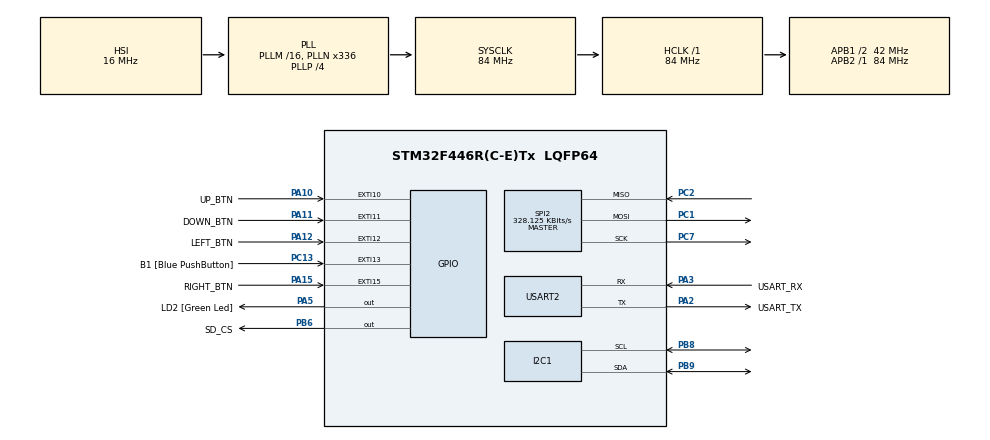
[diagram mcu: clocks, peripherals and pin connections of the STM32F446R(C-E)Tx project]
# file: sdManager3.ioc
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FATFS._MAX_SS=512
FATFS._USE_LFN=0
Mcu.Family=STM32F4
Mcu.Name=STM32F446R(C-E)Tx
Mcu.Package=LQFP64
NVIC.EXTI15_10_IRQn=true\:0\:0\:false\:false\:true\:true\:true\:true
NVIC.PriorityGroup=NVIC_PRIORITYGROUP_0
PA10.GPIO_Label=UP_BTN
PA10.GPIO_ModeDefaultEXTI=GPIO_MODE_IT_FALLING
PA10.Signal=GPXTI10
PA11.GPIO_Label=DOWN_BTN
PA11.GPIO_ModeDefaultEXTI=GPIO_MODE_IT_FALLING
PA11.Signal=GPXTI11
PA12.GPIO_Label=LEFT_BTN
PA12.GPIO_ModeDefaultEXTI=GPIO_MODE_IT_FALLING
PA12.Signal=GPXTI12
PA13.GPIO_Label=TMS
PA13.Mode=Serial_Wire
PA13.Signal=SYS_JTMS-SWDIO
PA14.GPIO_Label=TCK
PA14.Mode=Serial_Wire
PA14.Signal=SYS_JTCK-SWCLK
PA15.GPIO_Label=RIGHT_BTN
PA15.GPIO_ModeDefaultEXTI=GPIO_MODE_IT_FALLING
PA15.Signal=GPXTI15
PA2.GPIO_Label=USART_TX
PA2.Mode=Asynchronous
PA2.Signal=USART2_TX
PA3.GPIO_Label=USART_RX
PA3.Mode=Asynchronous
PA3.Signal=USART2_RX
PA5.GPIO_Label=LD2 [Green Led]
PA5.Signal=GPIO_Output
PB3.GPIO_Label=SWO
PB3.Signal=SYS_JTDO-SWO
PB6.GPIO_Label=SD_CS
PB6.Signal=GPIO_Output
PB8.Mode=I2C
PB8.Signal=I2C1_SCL
PB9.Mode=I2C
PB9.Signal=I2C1_SDA
PC1.Mode=Full_Duplex_Master
PC1.Signal=SPI2_MOSI
PC13.GPIO_Label=B1 [Blue PushButton]
PC13.GPIO_ModeDefaultEXTI=GPIO_MODE_IT_FALLING
PC13.Signal=GPXTI13
PC14-OSC32_IN.Mode=LSE-External-Oscillator
PC14-OSC32_IN.Signal=RCC_OSC32_IN
PC15-OSC32_OUT.Mode=LSE-External-Oscillator
PC15-OSC32_OUT.Signal=RCC_OSC32_OUT
PC2.Mode=Full_Duplex_Master
PC2.Signal=SPI2_MISO
PC7.Mode=Full_Duplex_Master
PC7.Signal=SPI2_SCK
PH0-OSC_IN.Mode=HSE-External-Oscillator
PH0-OSC_IN.Signal=RCC_OSC_IN
PH1-OSC_OUT.Mode=HSE-External-Oscillator
PH1-OSC_OUT.Signal=RCC_OSC_OUT
ProjectManager.HeapSize=0x200
ProjectManager.StackSize=0x400
ProjectManager.TargetToolchain=CMake
RCC.48MHZClocksFreq_Value=84000000
RCC.AHBFreq_Value=84000000
RCC.APB1CLKDivider=RCC_HCLK_DIV2
RCC.APB1Freq_Value=42000000
RCC.APB1TimFreq_Value=84000000
RCC.APB2Freq_Value=84000000
RCC.APB2TimFreq_Value=84000000
RCC.CortexFreq_Value=84000000
RCC.FLatency-AdvancedSettings=FLASH_LATENCY_2
RCC.HCLKFreq_Value=84000000
RCC.HSE_VALUE=8000000
RCC.HSI_VALUE=16000000
RCC.PLLN=336
RCC.PLLP=RCC_PLLP_DIV4
RCC.SYSCLKFreq_VALUE=84000000
RCC.SYSCLKSource=RCC_SYSCLKSOURCE_PLLCLK
RCC.USBFreq_Value=168000000
RCC.VCOOutputFreq_Value=336000000
SPI2.BaudRatePrescaler=SPI_BAUDRATEPRESCALER_128
SPI2.CalculateBaudRate=328.125 KBits/s
SPI2.Direction=SPI_DIRECTION_2LINES
SPI2.Mode=SPI_MODE_MASTER
SPI2.VirtualType=VM_MASTER
USART2.VirtualMode=VM_ASYNC
VP_FATFS_VS_Generic.Mode=User_defined
board=NUCLEO-F446RE

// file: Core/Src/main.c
/* USER CODE BEGIN Header */
/**
  ******************************************************************************
  * @file           : main.c
  * @brief          : Main program body
  ******************************************************************************
  * @attention
  *
  * Copyright (c) 2024 STMicroelectronics.
  * All rights reserved.
  *
  * This software is licensed under terms that can be found in the LICENSE file
  * in the root directory of this software component.
  * If no LICENSE file comes with this software, it is provided AS-IS.
  *
  ******************************************************************************
  */
/* USER CODE END Header */
#include "main.h"
#include "fatfs.h"

/* USER CODE BEGIN Includes */
#include "Serial.h"
#include "OLED.h"
/* USER CODE END Includes */

I2C_HandleTypeDef hi2c1;

SPI_HandleTypeDef hspi2;

UART_HandleTypeDef huart2;

/* USER CODE BEGIN PV */
struct oled_sd_list ls_oled[10];
int sd_dir_deep = -1;
bool allowButton = false;
/* USER CODE END PV */

void SystemClock_Config(void);
static void MX_GPIO_Init(void);
static void MX_I2C1_Init(void);
static void MX_SPI2_Init(void);
static void MX_USART2_UART_Init(void);
/* USER CODE BEGIN PFP */
void nuevoDirectorioSD(const TCHAR *path);
int getListOfSDfiles(FILINFO *fno_f , const TCHAR *path );
int sdcard_getDirectoryItems(FILINFO *fno_file, const TCHAR *path);
void selectionOfItem(  struct oled_sd_list *ls );
void returnToPreviousPage( struct oled_sd_list *ls );
void riseDirectorySD();
/* USER CODE END PFP */

/* USER CODE BEGIN 0 */

int sdcard_getDirectoryItems(FILINFO *fno_file, const TCHAR *path)
{
  FRESULT res;
  DIR dir;
  FILINFO fno;

  uint8_t count_filesfolders = 0;
  int err;
  res = f_opendir(&dir, path); /* Open the directory */
  if (res == FR_OK)
  {
    for (;;)
    {
      strcpy( fno.fname  , "\0\0\0\0\0\0\0\0\0\0\0\0"   );
      res = f_readdir(&dir, &fno ); /* Read a directory item */
      if (res != FR_OK || fno.fname[0] == 0)
      {
        err = 2;
        break;
      }
      fno_file[count_filesfolders].fattrib = fno.fattrib;
      fno_file[count_filesfolders].fdate = fno.fdate;
      strcpy( fno_file[count_filesfolders].fname, "\0\0\0\0\0\0\0\0\0\0\0\0"  );
      strcpy( fno_file[count_filesfolders].fname,fno.fname  );
      //fno_file[count_filesfolders].fname = fno.fname;
      fno_file[count_filesfolders].fsize = fno.fsize;
      fno_file[count_filesfolders].ftime = fno.ftime;
      count_filesfolders += 1;
    }
    f_closedir(&dir);
  }
  else
  {
    err = 1;
  }

  return err;
}

int getListOfSDfiles(FILINFO *fno_f , const TCHAR *path )
{
  int countFiles = 0;
  for ( int i = 0; i < 15; i++ )
  {
    strcpy( fno_f[i].fname , "\0\0\0\0\0\0\0\0\0\0\0" );
  }
  int hh = strlen(path);
  char cgg[hh+2];
  sprintf(cgg, "%s", path);
  serialPrint( &huart2, "folder:/%s", cgg);

  int err = sdcard_getDirectoryItems( fno_f, cgg);
  if( err == 0 || err == 2)
  {
    for ( int i = 0; i < 15; i++ )
    {
      FILINFO fno = fno_f[i];
      if ( fno.fattrib ==  AM_DIR ||  fno.fattrib ==  AM_ARC  )
      {
        if ( fno.fname[0] == 0 ){
          break;
        }
        if (fno.fattrib & AM_DIR) {
        	serialPrint( &huart2 ,"   <DIR>   %s\n", fno.fname);
        } else {
        	serialPrint( &huart2 ,"%10u %s\n", fno.fsize, fno.fname);
        }
        countFiles++;
      }

    }

  }
  else{
    serialPrint( &huart2, "error ocurred reading items on sd card (err:%hu )", err );
  }
  return countFiles;
}

void nuevoDirectorioSD(const TCHAR *path)
{
  char new_path[30];
  strcpy( new_path , "\0\0\0\0\0\0\0\0\0\0\0\0\0\0\0\0\0\0\0\0\0\0\0\0\0\0\0\0" );
  if ( sd_dir_deep > 0 )
  {
    strcpy( new_path , ls_oled[sd_dir_deep].dir  );
    strcat(new_path, "/" );
  }

  strcat(new_path, path );

  FILINFO fno_f[15];
  uint8_t countFiles = 0;
  countFiles = getListOfSDfiles(  fno_f , new_path  );

  sd_dir_deep += 1;
  oledManagerSDScreen_resetList( &ls_oled[sd_dir_deep] , new_path, countFiles, fno_f);
  oledManagerSDScreen( &ls_oled[sd_dir_deep] );
}

void selectionOfItem(  struct oled_sd_list *ls )
{
  if ( ls->filsf[  ls->actual_item ].fattrib == AM_DIR )
  {
    char path[13];
    strcpy( path, ls->filsf[  ls->actual_item  ].fname );
    serialPrint(  &huart2,"Folder:/%s\r\n" , path  );
    char ar[13];
    strcpy(ar, ls->filsf[  ls->actual_item ].fname);
    nuevoDirectorioSD( ar );
  }
  else if ( ls->filsf[  ls->actual_item ].fattrib == AM_ARC)
  {
    oledInfoFileScreen( ls);
  }
}

void riseDirectorySD()
{
  for (int j = 0; j < 50; j++  )
  {
    ls_oled[sd_dir_deep].dir[j] = 0;
  }
  ls_oled[sd_dir_deep].actual_item = 0;
  strcpy(ls_oled[sd_dir_deep].dir ,  "");
  ls_oled[sd_dir_deep].limitUp = 3;
  ls_oled[sd_dir_deep].limitDown = 0;
  uint8_t nosdfile = 0;
  for ( int i = 0; i < ls_oled[sd_dir_deep].totalFiles; i++ )
  {
    ls_oled[sd_dir_deep].filsf[i - nosdfile ].fattrib = 0;
    ls_oled[sd_dir_deep].filsf[i - nosdfile ].fdate = 0;
    strcpy( ls_oled[sd_dir_deep].filsf[i - nosdfile ].fname, "" );
    ls_oled[sd_dir_deep].filsf[i - nosdfile ].fsize = 0;
    ls_oled[sd_dir_deep].filsf[i - nosdfile ].ftime = 0;
  }
  ls_oled[sd_dir_deep].totalFiles = 0;

  sd_dir_deep -= 1;

  oledManagerSDScreen( &ls_oled[sd_dir_deep] );

}

void returnToPreviousPage( struct oled_sd_list *ls )
{
  if ( ls->filsf[  ls->actual_item ].fattrib == AM_ARC && ls->modeScr == MODE_FILE )
  {
    oledManagerSDScreen( ls );
  }
  else if ( ls->modeScr == MODE_DIR && sd_dir_deep > 0 )
  {
    riseDirectorySD( );
  }
}

/* USER CODE END 0 */

int main(void)
{

  /* MCU Configuration--------------------------------------------------------*/

  /* Reset of all peripherals, Initializes the Flash interface and the Systick. */
  HAL_Init();

  /* Configure the system clock */
  SystemClock_Config();

  /* Initialize all configured peripherals */
  MX_GPIO_Init();
  MX_I2C1_Init();
  MX_SPI2_Init();
  MX_USART2_UART_Init();
  MX_FATFS_Init();
  /* USER CODE BEGIN 2 */

  oledInit();
  HAL_Delay(250);
  oledIntroScreen();
  HAL_Delay(2000);

  FATFS FatFs;

  //some variables for FatFs
  FRESULT fres; //Result after operations
  //Open the file system
  fres = f_mount(&FatFs, "", 1); //1=mount now

  if (  fres != FR_OK )
  {
    oledErrorSDScreen();
    while ( fres != FR_OK  ){
      fres = f_mount(&FatFs, "", 1); //1=mount now
    }
    oledIntroScreen();
    HAL_Delay(1000);
  }

  char ar[2] = {""};
  nuevoDirectorioSD(ar);
  allowButton = true;
  /* USER CODE END 2 */

  /* Infinite loop */
  while (1)
  {
    fres = f_mount(&FatFs, "", 1);
    if (  fres != FR_OK  )
    {
      //__disable_irq();
      allowButton = false;
      oledErrorSDScreen();

      while ( fres != FR_OK ){
        HAL_Delay(500);
        fres = f_mount(&FatFs, "", 1);
      }
      for ( int j = sd_dir_deep; j >= 0 ; j-- )
      {
        ls_oled[j].actual_item = 0;
        ls_oled[j].limitDown = 0;
        ls_oled[j].limitUp = 3;
        ls_oled[j].modeScr = 0;
        ls_oled[j].totalFiles = 0;
        for ( int i = 1; i < 15; i++ )
        {
          ls_oled[j].filsf[i ].fattrib = 0;
          ls_oled[j].filsf[i ].fdate =0;
          strcpy( ls_oled[j].filsf[i ].fname, "" );
          //fno_file[count_filesfolders].fname = fno.fname;
          ls_oled[j].filsf[i ].fsize = 0;
          ls_oled[j].filsf[i ].ftime =0;
        }
      }
      sd_dir_deep = -1;
      char ar[2] = {""};
      nuevoDirectorioSD(ar);
      allowButton = true;
      //__enable_irq();
    }
    HAL_Delay(50);
  }
  /* USER CODE END 3 */
}

void SystemClock_Config(void)
{
  RCC_OscInitTypeDef RCC_OscInitStruct = {0};
  RCC_ClkInitTypeDef RCC_ClkInitStruct = {0};

  /** Configure the main internal regulator output voltage
  */
  __HAL_RCC_PWR_CLK_ENABLE();
  __HAL_PWR_VOLTAGESCALING_CONFIG(PWR_REGULATOR_VOLTAGE_SCALE3);

  /** Initializes the RCC Oscillators according to the specified parameters
  * in the RCC_OscInitTypeDef structure.
  */
  RCC_OscInitStruct.OscillatorType = RCC_OSCILLATORTYPE_HSI;
  RCC_OscInitStruct.HSIState = RCC_HSI_ON;
  RCC_OscInitStruct.HSICalibrationValue = RCC_HSICALIBRATION_DEFAULT;
  RCC_OscInitStruct.PLL.PLLState = RCC_PLL_ON;
  RCC_OscInitStruct.PLL.PLLSource = RCC_PLLSOURCE_HSI;
  RCC_OscInitStruct.PLL.PLLM = 16;
  RCC_OscInitStruct.PLL.PLLN = 336;
  RCC_OscInitStruct.PLL.PLLP = RCC_PLLP_DIV4;
  RCC_OscInitStruct.PLL.PLLQ = 2;
  RCC_OscInitStruct.PLL.PLLR = 2;
  if (HAL_RCC_OscConfig(&RCC_OscInitStruct) != HAL_OK)
  {
    Error_Handler();
  }

  /** Initializes the CPU, AHB and APB buses clocks
  */
  RCC_ClkInitStruct.ClockType = RCC_CLOCKTYPE_HCLK|RCC_CLOCKTYPE_SYSCLK
                              |RCC_CLOCKTYPE_PCLK1|RCC_CLOCKTYPE_PCLK2;
  RCC_ClkInitStruct.SYSCLKSource = RCC_SYSCLKSOURCE_PLLCLK;
  RCC_ClkInitStruct.AHBCLKDivider = RCC_SYSCLK_DIV1;
  RCC_ClkInitStruct.APB1CLKDivider = RCC_HCLK_DIV2;
  RCC_ClkInitStruct.APB2CLKDivider = RCC_HCLK_DIV1;

  if (HAL_RCC_ClockConfig(&RCC_ClkInitStruct, FLASH_LATENCY_2) != HAL_OK)
  {
    Error_Handler();
  }
}

static void MX_I2C1_Init(void)
{

  hi2c1.Instance = I2C1;
  hi2c1.Init.ClockSpeed = 100000;
  hi2c1.Init.DutyCycle = I2C_DUTYCYCLE_2;
  hi2c1.Init.OwnAddress1 = 0;
  hi2c1.Init.AddressingMode = I2C_ADDRESSINGMODE_7BIT;
  hi2c1.Init.DualAddressMode = I2C_DUALADDRESS_DISABLE;
  hi2c1.Init.OwnAddress2 = 0;
  hi2c1.Init.GeneralCallMode = I2C_GENERALCALL_DISABLE;
  hi2c1.Init.NoStretchMode = I2C_NOSTRETCH_DISABLE;
  if (HAL_I2C_Init(&hi2c1) != HAL_OK)
  {
    Error_Handler();
  }

}

static void MX_SPI2_Init(void)
{

  /* SPI2 parameter configuration*/
  hspi2.Instance = SPI2;
  hspi2.Init.Mode = SPI_MODE_MASTER;
  hspi2.Init.Direction = SPI_DIRECTION_2LINES;
  hspi2.Init.DataSize = SPI_DATASIZE_8BIT;
  hspi2.Init.CLKPolarity = SPI_POLARITY_LOW;
  hspi2.Init.CLKPhase = SPI_PHASE_1EDGE;
  hspi2.Init.NSS = SPI_NSS_SOFT;
  hspi2.Init.BaudRatePrescaler = SPI_BAUDRATEPRESCALER_128;
  hspi2.Init.FirstBit = SPI_FIRSTBIT_MSB;
  hspi2.Init.TIMode = SPI_TIMODE_DISABLE;
  hspi2.Init.CRCCalculation = SPI_CRCCALCULATION_DISABLE;
  hspi2.Init.CRCPolynomial = 10;
  if (HAL_SPI_Init(&hspi2) != HAL_OK)
  {
    Error_Handler();
  }

}

static void MX_USART2_UART_Init(void)
{

  huart2.Instance = USART2;
  huart2.Init.BaudRate = 115200;
  huart2.Init.WordLength = UART_WORDLENGTH_8B;
  huart2.Init.StopBits = UART_STOPBITS_1;
  huart2.Init.Parity = UART_PARITY_NONE;
  huart2.Init.Mode = UART_MODE_TX_RX;
  huart2.Init.HwFlowCtl = UART_HWCONTROL_NONE;
  huart2.Init.OverSampling = UART_OVERSAMPLING_16;
  if (HAL_UART_Init(&huart2) != HAL_OK)
  {
    Error_Handler();
  }

}

static void MX_GPIO_Init(void)
{
  GPIO_InitTypeDef GPIO_InitStruct = {0};

  /* GPIO Ports Clock Enable */
  __HAL_RCC_GPIOC_CLK_ENABLE();
  __HAL_RCC_GPIOH_CLK_ENABLE();
  __HAL_RCC_GPIOA_CLK_ENABLE();
  __HAL_RCC_GPIOB_CLK_ENABLE();

  /*Configure GPIO pin Output Level */
  HAL_GPIO_WritePin(LD2_GPIO_Port, LD2_Pin, GPIO_PIN_RESET);

  /*Configure GPIO pin Output Level */
  HAL_GPIO_WritePin(SD_CS_GPIO_Port, SD_CS_Pin, GPIO_PIN_RESET);

  /*Configure GPIO pin : B1_Pin */
  GPIO_InitStruct.Pin = B1_Pin;
  GPIO_InitStruct.Mode = GPIO_MODE_IT_FALLING;
  GPIO_InitStruct.Pull = GPIO_NOPULL;
  HAL_GPIO_Init(B1_GPIO_Port, &GPIO_InitStruct);

  /*Configure GPIO pin : LD2_Pin */
  GPIO_InitStruct.Pin = LD2_Pin;
  GPIO_InitStruct.Mode = GPIO_MODE_OUTPUT_PP;
  GPIO_InitStruct.Pull = GPIO_NOPULL;
  GPIO_InitStruct.Speed = GPIO_SPEED_FREQ_LOW;
  HAL_GPIO_Init(LD2_GPIO_Port, &GPIO_InitStruct);

  /*Configure GPIO pins : UP_BTN_Pin DOWN_BTN_Pin LEFT_BTN_Pin RIGHT_BTN_Pin */
  GPIO_InitStruct.Pin = UP_BTN_Pin|DOWN_BTN_Pin|LEFT_BTN_Pin|RIGHT_BTN_Pin;
  GPIO_InitStruct.Mode = GPIO_MODE_IT_FALLING;
  GPIO_InitStruct.Pull = GPIO_NOPULL;
  HAL_GPIO_Init(GPIOA, &GPIO_InitStruct);

  /*Configure GPIO pin : SD_CS_Pin */
  GPIO_InitStruct.Pin = SD_CS_Pin;
  GPIO_InitStruct.Mode = GPIO_MODE_OUTPUT_PP;
  GPIO_InitStruct.Pull = GPIO_NOPULL;
  GPIO_InitStruct.Speed = GPIO_SPEED_FREQ_LOW;
  HAL_GPIO_Init(SD_CS_GPIO_Port, &GPIO_InitStruct);

  /* EXTI interrupt init*/
  HAL_NVIC_SetPriority(EXTI15_10_IRQn, 0, 0);
  HAL_NVIC_EnableIRQ(EXTI15_10_IRQn);

}

/* USER CODE BEGIN 4 */
void HAL_GPIO_EXTI_Callback(uint16_t GPIO_Pin)
{
  if( !allowButton ) return;
  if( GPIO_Pin == UP_BTN_Pin)
  {
    if ( oledGetActualScreen() == 4 ) return;
    allowButton = false;
    oledManagerSDScreen_changeItem( &ls_oled[sd_dir_deep], UP_ROW );
    serialPrint(&huart2 , "opt:%s\r\n", ls_oled[sd_dir_deep].filsf[ ls_oled[sd_dir_deep].actual_item  ].fname );
    allowButton = true;
  }
  else if( GPIO_Pin == DOWN_BTN_Pin)
  {
    if ( oledGetActualScreen() == 4 ) return;
    allowButton = false;
    oledManagerSDScreen_changeItem( &ls_oled[sd_dir_deep], DOWN_ROW );
    serialPrint(&huart2 , "opt:%s\r\n", ls_oled[sd_dir_deep].filsf[ ls_oled[sd_dir_deep].actual_item  ].fname );
    allowButton = true;
  }
  else if( GPIO_Pin == LEFT_BTN_Pin)
  {
    allowButton = false;
    returnToPreviousPage( &ls_oled[sd_dir_deep] );
    allowButton = true;
  }
  else if( GPIO_Pin == RIGHT_BTN_Pin)
  {
    allowButton = false;
    selectionOfItem( &ls_oled[sd_dir_deep]);
    allowButton = true;
  }/**/

}
/* USER CODE END 4 */

void Error_Handler(void)
{
  __disable_irq();
  while (1)
  {
  }
}
